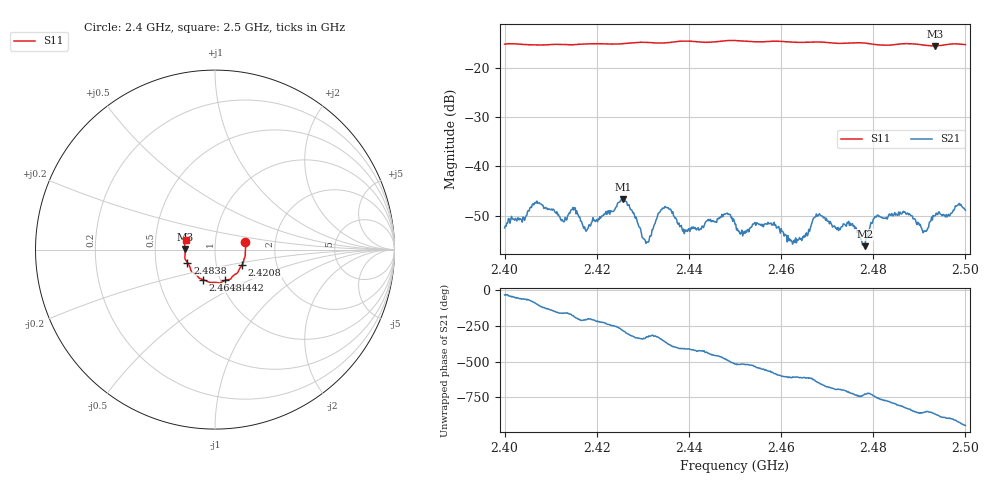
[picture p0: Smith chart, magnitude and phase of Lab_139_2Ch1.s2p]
# Hz S RI R 50
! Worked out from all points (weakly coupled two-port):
!   601 points, 2.4 GHz to 2.5 GHz, reference 50 ohm
!   highest |S21| = -46.61 dB at 2.4257 GHz (marker M1); lowest = -56.2 dB at 2.4782 GHz (marker M2)
!   lowest |S11| = -15.6 dB at 2.4935 GHz (marker M3), VSWR 1.40, Z = 35.8 + j0.21 ohm
!   |S11| at or under -10 dB: start of sweep to end of sweep
!   S12 and S22 are empty: the file has one direction only
!   S11 on the Smith chart (normalised r, x): 2.4 GHz: 1.40, +0.12; 2.4208 GHz: 1.33, -0.24; 2.4442 GHz: 1.05, -0.37; 2.4648 GHz: 0.83, -0.29; 2.4838 GHz: 0.73, -0.11; 2.5 GHz: 0.72, +0.08
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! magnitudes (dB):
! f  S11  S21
! 2.4 GHz  -15.2  -52.5
! 2.407 GHz  -15.4  -47.1
! 2.4152 GHz  -15.4  -48.4
! 2.4167 GHz  -15.2  -51.2
! 2.4208 GHz  -15.2  -50.5
! 2.4257 GHz  -15.2  -46.6
! 2.4307 GHz  -14.9  -55.6
! 2.4333 GHz  -15.0  -49.6
! 2.4357 GHz  -14.9  -48.7
! 2.4392 GHz  -14.6  -52.9
! 2.4442 GHz  -14.9  -50.8
! 2.45 GHz  -14.5  -51.8
! 2.4648 GHz  -14.9  -54.5
! 2.4667 GHz  -14.8  -51.6
! 2.475 GHz  -15.0  -51.5
! 2.4782 GHz  -15.0  -56.2
! 2.4805 GHz  -15.3  -50.2
! 2.4833 GHz  -15.5  -50.0
! 2.4838 GHz  -15.4  -49.9
! 2.4912 GHz  -15.5  -53.2
! 2.4935 GHz  -15.6  -50.0
! 2.5 GHz  -15.3  -48.9
